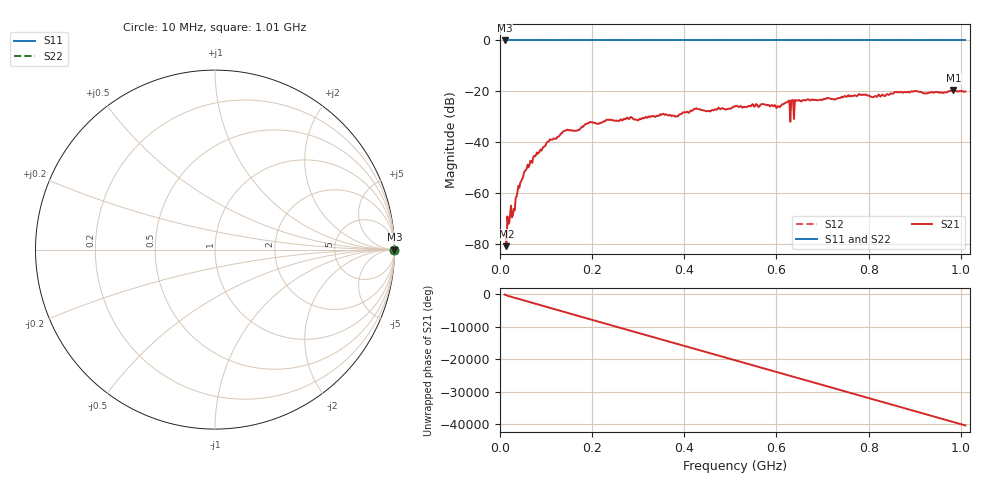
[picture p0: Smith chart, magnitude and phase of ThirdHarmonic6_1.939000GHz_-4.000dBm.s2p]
! 8/16/2025 11:21:28 PM
! C:\ANRITSUVNA\TEMP\TEMP.S2P
! CHANNEL.1
! TR.MEASUREMENT
! RAW.DATA
! RF.CORRECTION.OFF
! AVERAGING.OFF
! IF.BANDWIDTH: 5KHZ
! SWEEPTYPE:  FREQ.SWEEP(Linear)
! Reference Plane Port Info
! PORT:  PORT1  PORT2
! DISTANCE:  0  m  0  m
! TIME:  0  s  0  s
! PHASE.OFFSET:  0  deg.  0  deg.
! LOSS:  0  dB  0  dB
! REF.LOSS:  0  dB  0  dB
! REF.FREQ:  0  Hz  0  Hz
! Power Info
! POWER:  -20  dBm  -20  dBm
! EFF.POWER:  -20  dBm  -20  dBm
! SOURCE.ATTEN:  0  dB  0  dB
! TEST.ATTEN:  0  dB  0  dB
# GHZ S RI R 50.0
! FREQ.GHZ  S11RE  S11IM  S21RE  S21IM  S12RE  S12IM  S22RE  S22IM
!; PortSelection: Port_12
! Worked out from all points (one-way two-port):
!   501 points, 10 MHz to 1.01 GHz, reference 50 ohm
!   highest |S21| = -19.65 dB at 984 MHz (marker M1); lowest = -80.8 dB at 14 MHz (marker M2)
!   lowest |S11| = 0.0 dB at 10 MHz (marker M3)
!   |S11| at or under -10 dB: nowhere
!   |S22| runs from 0.0 to 0.0 dB; largest |S21 - S12| = 1.1
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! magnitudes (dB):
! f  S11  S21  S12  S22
! 10 MHz  0.0  -76.3  0.0  0.0
! 14 MHz  0.0  -80.8  0.0  0.0
! 20 MHz  0.0  -71.6  0.0  0.0
! 30 MHz  0.0  -66.2  0.0  0.0
! 44 MHz  0.0  -55.9  0.0  0.0
! 56 MHz  0.0  -50.8  0.0  0.0
! 76 MHz  0.0  -45.6  0.0  0.0
! 106 MHz  0.0  -39.6  0.0  0.0
! 140 MHz  0.0  -35.5  0.0  0.0
! 178 MHz  0.0  -33.9  0.0  0.0
! 196 MHz  0.0  -32.0  0.0  0.0
! 344 MHz  0.0  -29.7  0.0  0.0
! 382 MHz  0.0  -29.8  0.0  0.0
! 510 MHz  0.0  -25.9  0.0  0.0
! 604 MHz  0.0  -25.8  0.0  0.0
! 624 MHz  0.0  -24.1  0.0  0.0
! 634 MHz  0.0  -23.4  0.0  0.0
! 644 MHz  0.0  -23.6  0.0  0.0
! 678 MHz  0.0  -23.2  0.0  0.0
! 844 MHz  0.0  -21.4  0.0  0.0
! 984 MHz  0.0  -19.7  0.0  0.0
! 1.01 GHz  0.0  -20.0  0.0  0.0
